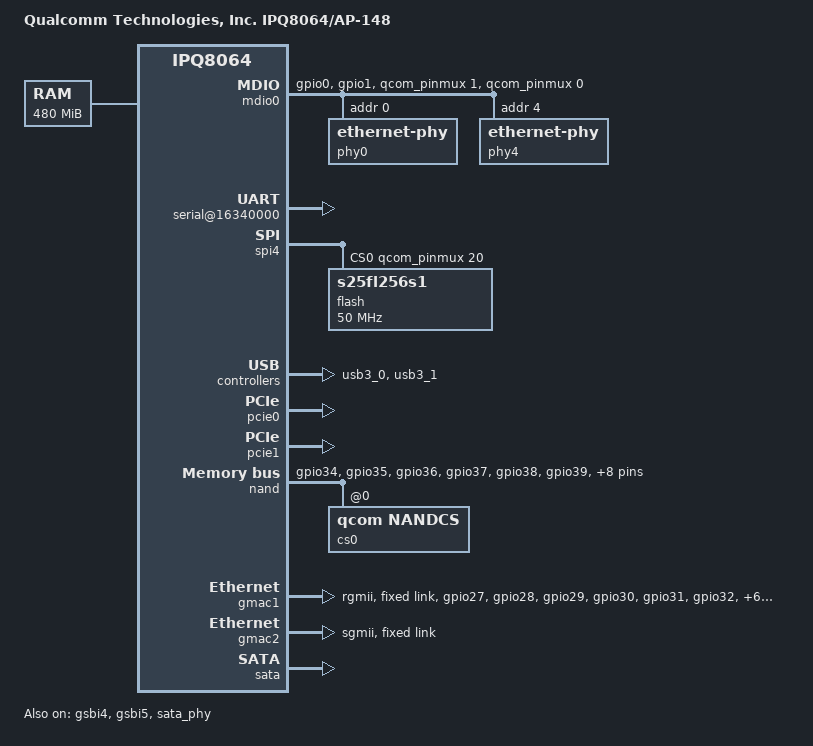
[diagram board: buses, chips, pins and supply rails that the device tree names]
#include "qcom-ipq8064-v1.0.dtsi"

/ {
	model = "Qualcomm Technologies, Inc. IPQ8064/AP-148";
	compatible = "qcom,ipq8064-ap148", "qcom,ipq8064";

	memory@0 {
		reg = <0x42000000 0x1e000000>;
		device_type = "memory";
	};

	reserved-memory {
		#address-cells = <1>;
		#size-cells = <1>;
		ranges;
		rsvd@41200000 {
			reg = <0x41200000 0x300000>;
			no-map;
		};
	};

	aliases {
		serial0 = &gsbi4_serial;
		mdio-gpio0 = &mdio0;
	};

	chosen {
		stdout-path = "serial0:115200n8";
	};

	soc {
		mdio0: mdio {
			compatible = "virtual,mdio-gpio";
			#address-cells = <1>;
			#size-cells = <0>;
			gpios = <&qcom_pinmux 1 GPIO_ACTIVE_HIGH>,
				<&qcom_pinmux 0 GPIO_ACTIVE_HIGH>;
			pinctrl-0 = <&mdio0_pins>;
			pinctrl-names = "default";

			phy0: ethernet-phy@0 {
				reg = <0>;
				qca,ar8327-initvals = <
					0x00004 0x7600000   /* PAD0_MODE */
					0x00008 0x1000000   /* PAD5_MODE */
					0x0000c 0x80        /* PAD6_MODE */
					0x000e4 0x6a545     /* MAC_POWER_SEL */
					0x000e0 0xc74164de  /* SGMII_CTRL */
					0x0007c 0x4e        /* PORT0_STATUS */
					0x00094 0x4e        /* PORT6_STATUS */
					>;
			};

			phy4: ethernet-phy@4 {
				reg = <4>;
			};
		};
	};
};

&qcom_pinmux {
	i2c4_pins: i2c4_pinmux {
		pins = "gpio12", "gpio13";
		function = "gsbi4";
		bias-disable;
	};

	nand_pins: nand_pins {
		disable {
			pins = "gpio34", "gpio35", "gpio36",
			       "gpio37", "gpio38";
			function = "nand";
			drive-strength = <10>;
			bias-disable;
		};

		pullups {
			pins = "gpio39";
			function = "nand";
			drive-strength = <10>;
			bias-pull-up;
		};

		hold {
			pins = "gpio40", "gpio41", "gpio42",
			       "gpio43", "gpio44", "gpio45",
			       "gpio46", "gpio47";
			function = "nand";
			drive-strength = <10>;
			bias-bus-hold;
		};
	};

	mdio0_pins: mdio0_pins {
		mux {
			pins = "gpio0", "gpio1";
			function = "gpio";
			drive-strength = <8>;
			bias-disable;
		};
	};

	rgmii2_pins: rgmii2_pins {
		mux {
			pins = "gpio27", "gpio28", "gpio29", "gpio30", "gpio31", "gpio32",
			       "gpio51", "gpio52", "gpio59", "gpio60", "gpio61", "gpio62" ;
			function = "rgmii2";
			drive-strength = <8>;
			bias-disable;
		};
	};
};

&adm_dma {
	status = "okay";
};

&gsbi4 {
	qcom,mode = <GSBI_PROT_I2C_UART>;
	status = "okay";

	serial@16340000 {
		status = "okay";
	};

	/*
	* The i2c device on gsbi4 should not be enabled.
	* On ipq806x designs gsbi4 i2c is meant for exclusive
	* RPM usage. Turning this on in kernel manifests as
	* i2c failure for the RPM.
	*/
};

&gsbi5 {
	qcom,mode = <GSBI_PROT_SPI>;
	status = "okay";

	spi4: spi@1a280000 {
		status = "okay";
		spi-max-frequency = <50000000>;

		pinctrl-0 = <&spi_pins>;
		pinctrl-names = "default";

		cs-gpios = <&qcom_pinmux 20 0>;

		flash: m25p80@0 {
			compatible = "s25fl256s1";
			#address-cells = <1>;
			#size-cells = <1>;
			spi-max-frequency = <50000000>;
			reg = <0>;

			partitions {
				compatible = "qcom,smem";
			};
		};
	};
};

&usb3_0 {
	status = "okay";
};

&usb3_1 {
	status = "okay";
};

&pcie0 {
	status = "okay";
};

&pcie1 {
	status = "okay";
	force_gen1 = <1>;
};

&nand {
	status = "okay";

	pinctrl-0 = <&nand_pins>;
	pinctrl-names = "default";

	cs0 {
		reg = <0>;
		compatible = "qcom,nandcs";

		nand-ecc-strength = <4>;
		nand-bus-width = <8>;
		nand-ecc-step-size = <512>;

		partitions {
			compatible = "qcom,smem";
		};
	};
};

&gmac1 {
	status = "okay";
	phy-mode = "rgmii";
	qcom,id = <1>;

	pinctrl-0 = <&rgmii2_pins>;
	pinctrl-names = "default";

	fixed-link {
		speed = <1000>;
		full-duplex;
	};
};

&gmac2 {
	status = "okay";
	phy-mode = "sgmii";
	qcom,id = <2>;

	fixed-link {
		speed = <1000>;
		full-duplex;
	};
};

&sata_phy {
	status = "okay";
};

&sata {
	status = "okay";
};
